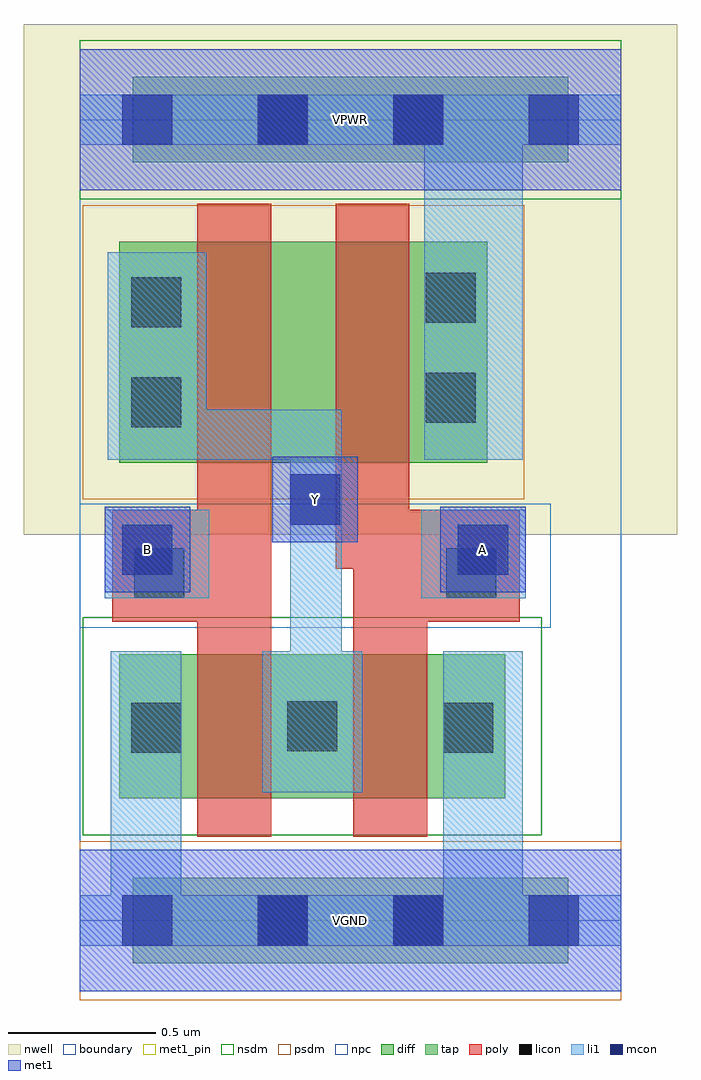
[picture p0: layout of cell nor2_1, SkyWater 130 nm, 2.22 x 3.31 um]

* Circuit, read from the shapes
.subckt nor2_1 A B VGND VPWR Y
XM1 Y B VGND VGND sky130_fd_pr__nfet_01v8 w=0.49 l=0.25
XM2 VGND A Y VGND sky130_fd_pr__nfet_01v8 w=0.49 l=0.25
XM3 n1 B Y VPWR sky130_fd_pr__pfet_01v8 w=0.75 l=0.25
XM4 VPWR A n1 VPWR sky130_fd_pr__pfet_01v8 w=0.75 l=0.25
.ends

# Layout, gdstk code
import gdstk
lib = gdstk.Library(unit=1e-6, precision=1e-09)
def R(c, l, rs):  # rectangles x0, y0, x1, y1
    for r in rs: c.add(gdstk.rectangle(r[:2], r[2:], *l))
def A(c, l, x, y, w, h, nx, ny, dx, dy):  # array of equal rectangles
    R(c, l, [(x+i*dx, y+j*dy, x+i*dx+w, y+j*dy+h) for i in range(nx) for j in range(ny)])
nwell = (64, 20)
diff = (65, 20)
tap = (65, 44)
poly = (66, 20)
licon = (66, 44)
li1 = (67, 20)
mcon = (67, 44)
met1_pin = (68, 16)
met1 = (68, 20)
nsdm = (93, 44)
psdm = (94, 20)
npc = (95, 20)
boundary = (235, 4)

nor2_1 = lib.new_cell('nor2_1')
R(nor2_1, nwell, [(-0.19,1.31,2.03,3.045), (0,1.31,1.84,3.045)])
R(nor2_1, diff, [(0.135,0.415,1.445,0.905), (0.135,1.555,1.385,2.305)])
R(nor2_1, tap, [(0.18,-0.145,1.66,0.145), (0.18,2.575,1.66,2.865)])
R(nor2_1, poly, [(0.4,0.285,0.65,2.435), (0.93,0.285,1.18,1.395), (0.11,1.015,0.65,1.395), (0.93,1.015,1.495,1.395), (0.87,1.195,1.12,2.435)])
R(nor2_1, licon, [(0.605,-0.085,0.775,0.085), (1.065,-0.085,1.235,0.085), (0.175,0.57,0.345,0.74), (1.235,0.57,1.405,0.74), (0.705,0.575,0.875,0.745), (0.185,1.095,0.355,1.265), (1.245,1.095,1.415,1.265), (0.175,1.675,0.345,1.845), (1.175,1.69,1.345,1.86), (0.175,2.015,0.345,2.185), (1.175,2.03,1.345,2.2), (0.605,2.635,0.775,2.805), (1.065,2.635,1.235,2.805)])
R(nor2_1, li1, [(0,-0.085,1.84,0.085), (0.105,-0.085,0.345,0.915), (1.235,-0.085,1.505,0.915), (0.62,0.435,0.96,0.915), (0.715,0.435,0.89,1.735), (0.085,1.095,0.44,1.395), (1.16,1.095,1.515,1.395), (0.095,1.565,0.43,2.27), (0.095,1.565,0.89,1.735), (1.17,1.565,1.505,2.805), (0,2.635,1.84,2.805)])
A(nor2_1, mcon, 0.145, -0.085, 0.17, 0.17, 4, 2, 0.46, 2.72)
R(nor2_1, mcon, [(0.145,1.175,0.315,1.345), (1.285,1.175,1.455,1.345), (0.715,1.345,0.885,1.515)])
R(nor2_1, met1_pin, [(0,-0.24,1.84,0.24), (0.085,1.115,0.375,1.405), (1.225,1.115,1.515,1.405), (0.655,1.285,0.945,1.575), (0,2.48,1.84,2.96)])
R(nor2_1, met1, [(0,-0.24,1.84,0.24), (0.085,1.115,0.375,1.405), (1.225,1.115,1.515,1.405), (0.655,1.285,0.945,1.575), (0,2.48,1.84,2.96)])
R(nor2_1, nsdm, [(0.01,0.29,1.57,1.03), (0,2.45,1.84,2.99)])
R(nor2_1, psdm, [(0,-0.27,1.84,0.27), (0.01,1.43,1.51,2.43)])
R(nor2_1, npc, [(0,0.995,1.6,1.415)])
R(nor2_1, boundary, [(0,0,1.84,2.72)])
nor2_1.add(gdstk.Label('A', (1.37,1.26), layer=68, texttype=5))
nor2_1.add(gdstk.Label('B', (0.23,1.26), layer=68, texttype=5))
nor2_1.add(gdstk.Label('Y', (0.8,1.43), layer=68, texttype=5))
nor2_1.add(gdstk.Label('VPWR', (0.92,2.72), layer=68, texttype=5))
nor2_1.add(gdstk.Label('VGND', (0.92,0), layer=68, texttype=5))
nor2_1.add(gdstk.Label('A', (1.37,1.26), layer=68, texttype=16))
nor2_1.add(gdstk.Label('B', (0.23,1.26), layer=68, texttype=16))
nor2_1.add(gdstk.Label('Y', (0.8,1.43), layer=68, texttype=16))
nor2_1.add(gdstk.Label('VPWR', (0.92,2.72), layer=68, texttype=16))
nor2_1.add(gdstk.Label('VGND', (0.92,0), layer=68, texttype=16))

lib.write_gds('nor2_1.gds')
